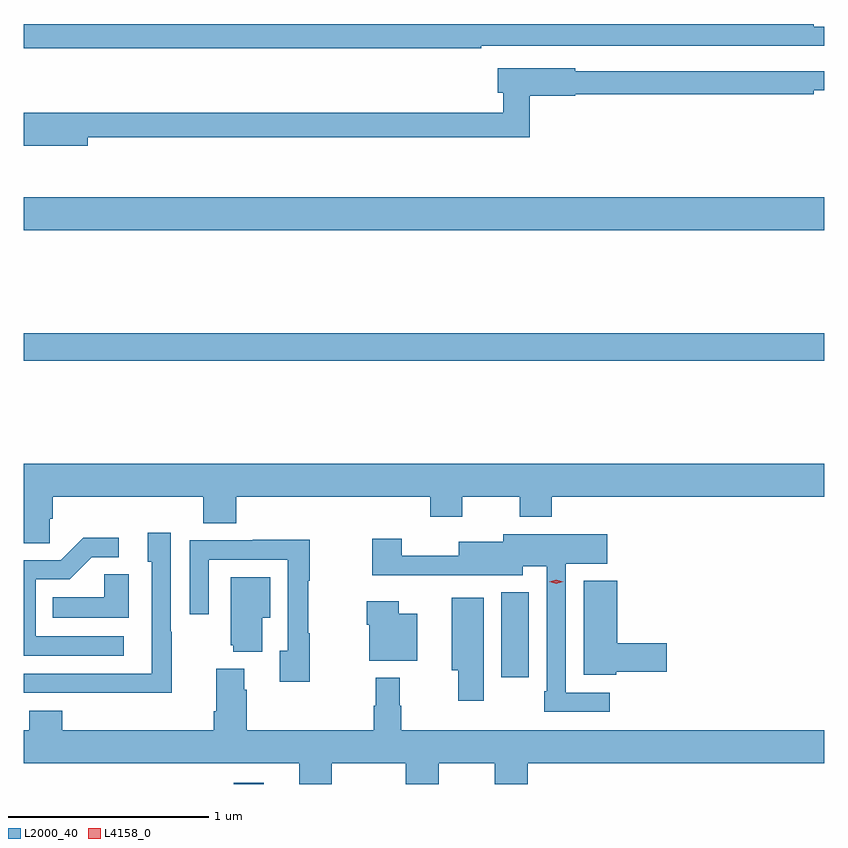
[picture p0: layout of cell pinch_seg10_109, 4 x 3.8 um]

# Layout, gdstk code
import gdstk
lib = gdstk.Library(unit=1e-6, precision=1e-09)
def R(c, l, rs):  # rectangles x0, y0, x1, y1
    for r in rs: c.add(gdstk.rectangle(r[:2], r[2:], *l))
def P(c, l, *ps):  # polygons
    for p in ps: c.add(gdstk.Polygon(p, *l))
L2000_40 = (2000, 40)
L4158_0 = (4158, 0)

pinch_seg10_109 = lib.new_cell('pinch_seg10_109')
R(pinch_seg10_109, L2000_40, [(665.51,1313.532,665.659,1313.539), (666.848,1314.066,666.985,1314.49), (664.461,1315.648,668.461,1315.784), (664.461,1316.3,668.461,1316.464)])
P(pinch_seg10_109, L2000_40, [(666.746,1317.222),(668.461,1317.222),(668.461,1317.318),(668.408,1317.318),(668.408,1317.331),(664.461,1317.331),(664.461,1317.21),(666.746,1317.21)],
  [(664.78,1316.766),(666.989,1316.766),(666.989,1316.972),(667.218,1316.972),(667.218,1316.98),(668.408,1316.98),(668.408,1316.999),(668.461,1316.999),(668.461,1317.096),(667.218,1317.096),(667.218,1317.109),(666.83,1317.109),(666.83,1316.987),(666.857,1316.987),(666.857,1316.887),(664.461,1316.887),(664.461,1316.723),(664.78,1316.723)],
  [(664.59,1314.859),(664.604,1314.859),(664.604,1314.968),(665.357,1314.968),(665.357,1314.835),(665.522,1314.835),(665.522,1314.968),(666.491,1314.968),(666.491,1314.869),(666.651,1314.869),(666.651,1314.968),(666.94,1314.968),(666.94,1314.869),(667.1,1314.869),(667.1,1314.968),(668.461,1314.968),(668.461,1315.132),(664.461,1315.132),(664.461,1314.736),(664.59,1314.736)],
  [(665.199,1314.293),(665.196,1314.293),(665.196,1314.787),(665.081,1314.787),(665.081,1314.642),(665.1,1314.642),(665.1,1314.084),(664.461,1314.084),(664.461,1313.988),(664.735,1313.988),(664.735,1313.987),(665.199,1313.987)],
  [(667.39,1313.988),(667.17,1313.988),(667.17,1314.632),(667.378,1314.632),(667.378,1314.781),(666.857,1314.781),(666.857,1314.742),(666.635,1314.742),(666.635,1314.674),(666.349,1314.674),(666.349,1314.757),(666.202,1314.757),(666.202,1314.575),(666.43,1314.575),(666.43,1314.576),(666.739,1314.576),(666.739,1314.575),(666.955,1314.575),(666.955,1314.62),(667.074,1314.62),(667.074,1313.995),(667.062,1313.995),(667.062,1313.892),(667.39,1313.892)],
  [(664.96,1314.27),(664.521,1314.27),(664.521,1314.555),(664.69,1314.555),(664.801,1314.666),(664.936,1314.666),(664.936,1314.764),(664.757,1314.764),(664.644,1314.651),(664.461,1314.651),(664.461,1314.174),(664.96,1314.174)],
  [(665.89,1314.286),(665.882,1314.286),(665.882,1314.547),(665.89,1314.547),(665.89,1314.752),(665.605,1314.752),(665.605,1314.75),(665.289,1314.75),(665.289,1314.381),(665.385,1314.381),(665.385,1314.654),(665.781,1314.654),(665.781,1314.198),(665.741,1314.198),(665.741,1314.042),(665.89,1314.042)],
  [(664.984,1314.581),(664.863,1314.581),(664.863,1314.466),(664.606,1314.466),(664.606,1314.362),(664.984,1314.362)],
  [(665.653,1314.362),(665.692,1314.362),(665.692,1314.565),(665.495,1314.565),(665.495,1314.225),(665.507,1314.225),(665.507,1314.194),(665.653,1314.194)],
  [(667.422,1314.094),(667.675,1314.094),(667.675,1314.236),(667.426,1314.236),(667.426,1314.547),(667.259,1314.547),(667.259,1314.077),(667.422,1314.077)],
  [(666.76,1314.463),(666.599,1314.463),(666.599,1314.101),(666.631,1314.101),(666.631,1313.949),(666.76,1313.949)],
  [(666.427,1314.382),(666.334,1314.382),(666.334,1314.445),(666.176,1314.445),(666.176,1314.327),(666.188,1314.327),(666.188,1314.149),(666.427,1314.149)],
  [(666.001,1313.636),(666.371,1313.636),(666.371,1313.532),(666.535,1313.532),(666.535,1313.636),(666.815,1313.636),(666.815,1313.532),(666.979,1313.532),(666.979,1313.636),(668.461,1313.636),(668.461,1313.8),(666.347,1313.8),(666.347,1313.924),(666.34,1313.924),(666.34,1314.064),(666.219,1314.064),(666.219,1313.924),(666.211,1313.924),(666.211,1313.8),(665.576,1313.8),(665.576,1314.002),(665.563,1314.002),(665.563,1314.109),(665.423,1314.109),(665.423,1313.896),(665.411,1313.896),(665.411,1313.8),(664.652,1313.8),(664.652,1313.899),(664.487,1313.899),(664.487,1313.8),(664.461,1313.8),(664.461,1313.636),(665.837,1313.636),(665.837,1313.532),(666.001,1313.532)])
P(pinch_seg10_109, L4158_0, [(667.121,1314.534),(667.086,1314.543),(667.086,1314.544),(667.086,1314.544),(667.121,1314.554),(667.156,1314.544),(667.156,1314.544),(667.156,1314.544)])

lib.write_gds('pinch_seg10_109.gds')
